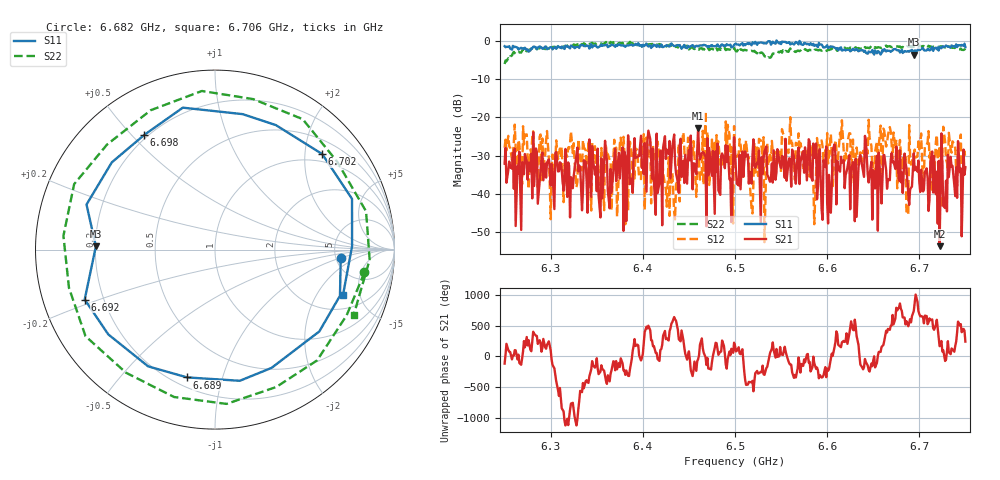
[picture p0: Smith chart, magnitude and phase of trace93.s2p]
# Hz S RI R 50
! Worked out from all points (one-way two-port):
!   401 points, 6.25 GHz to 6.75 GHz, reference 50 ohm
!   highest |S21| = -22.76 dB at 6.46 GHz (marker M1); lowest = -53.8 dB at 6.722 GHz (marker M2)
!   lowest |S11| = -3.6 dB at 6.694 GHz (marker M3), VSWR 4.95, Z = 10.1 + j0.66 ohm
!   |S11| at or under -10 dB: nowhere
!   |S22| runs from -6.0 to -0.1 dB; largest |S21 - S12| = 0.13
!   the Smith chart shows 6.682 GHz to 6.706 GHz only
!   S11 on the Smith chart (normalised r, x): 6.682 GHz: 5.53, -0.97; 6.689 GHz: 0.25, -0.77; 6.692 GHz: 0.13, -0.18; 6.698 GHz: 0.19, +0.54; 6.702 GHz: 0.81, +2.39; 6.706 GHz: 2.90, -3.46
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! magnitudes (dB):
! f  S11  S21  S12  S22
! 6.25 GHz  -1.3  -32.1  -27.9  -6.0
! 6.301 GHz  -1.6  -32.2  -33.7  -1.3
! 6.334 GHz  -1.0  -44.4  -33.9  -0.7
! 6.418 GHz  -1.5  -37.3  -29.9  -0.7
! 6.46 GHz  -1.4  -22.8  -28.7  -2.0
! 6.5 GHz  -0.7  -28.8  -30.7  -2.1
! 6.518 GHz  -1.1  -37.4  -44.0  -2.5
! 6.529 GHz  -0.4  -30.4  -28.1  -2.9
! 6.56 GHz  -0.8  -31.9  -19.9  -1.9
! 6.584 GHz  -1.0  -36.6  -35.9  -2.3
! 6.602 GHz  -1.6  -35.1  -30.0  -2.3
! 6.609 GHz  -1.8  -29.8  -26.0  -2.1
! 6.668 GHz  -2.5  -36.5  -22.5  -1.3
! 6.682 GHz  -3.1  -39.8  -30.3  -1.5
! 6.689 GHz  -2.7  -43.0  -22.0  -1.4
! 6.692 GHz  -2.2  -38.2  -31.3  -1.5
! 6.694 GHz  -3.6  -29.4  -29.6  -1.4
! 6.698 GHz  -2.5  -34.2  -30.3  -1.4
! 6.702 GHz  -1.9  -33.7  -24.2  -1.5
! 6.706 GHz  -2.4  -34.3  -27.4  -1.4
! 6.722 GHz  -1.5  -53.8  -27.4  -1.4
! 6.75 GHz  -1.6  -33.1  -30.7  -1.9
